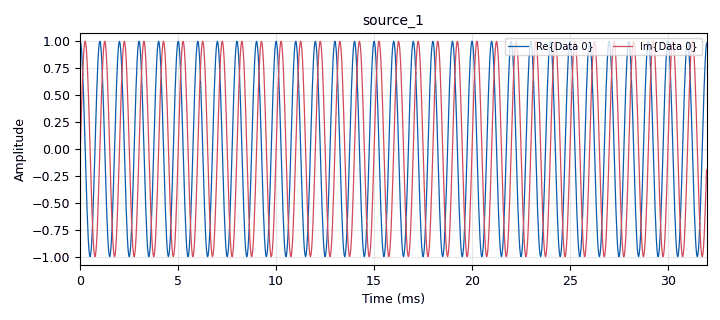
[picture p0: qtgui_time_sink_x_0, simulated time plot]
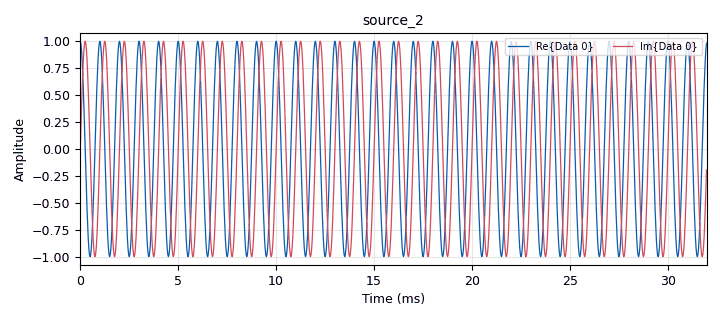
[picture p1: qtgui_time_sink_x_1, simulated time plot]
options:
  parameters:
    generate_options: qt_gui
    id: mixing
    output_language: python
    title: Not titled yet
  states: {}

blocks:
- name: freq1
  id: variable_qtgui_range
  parameters:
    orient: Qt.Horizontal
    start: '-10000'
    step: '100'
    stop: '10000'
    value: '1000'
  states: {}
- name: freq2
  id: variable_qtgui_range
  parameters:
    orient: Qt.Horizontal
    start: '-10000'
    step: '100'
    stop: '10000'
    value: '1000'
  states: {}
- name: samp_rate
  id: variable
  parameters:
    value: '32000'
  states: {}
- name: analog_sig_source_x_0
  id: analog_sig_source_x
  parameters:
    amp: '1'
    freq: freq1
    offset: '0'
    phase: '0'
    samp_rate: samp_rate
    type: complex
    waveform: analog.GR_COS_WAVE
  states: {}
- name: analog_sig_source_x_0_0
  id: analog_sig_source_x
  parameters:
    amp: '1'
    freq: freq2
    offset: '0'
    phase: '0'
    samp_rate: samp_rate
    type: complex
    waveform: analog.GR_COS_WAVE
  states: {}
- name: blocks_throttle_0
  id: blocks_throttle
  parameters:
    samples_per_second: samp_rate
    type: complex
  states: {}
- name: qtgui_freq_sink_x_0
  id: qtgui_freq_sink_x
  parameters:
    bw: samp_rate
    fc: '0'
    fftsize: '1024'
    type: complex
    wintype: firdes.WIN_BLACKMAN_hARRIS
  states: {}
- name: qtgui_time_sink_x_0
  id: qtgui_time_sink_x
  parameters:
    name: source_1
    size: '1024'
    srate: samp_rate
    type: complex
  states: {}
- name: qtgui_time_sink_x_1
  id: qtgui_time_sink_x
  parameters:
    name: source_2
    size: '1024'
    srate: samp_rate
    type: complex
  states: {}
- name: qtgui_time_sink_x_1_0
  id: qtgui_time_sink_x
  parameters:
    name: mixed
    size: '1024'
    srate: samp_rate
    type: complex
  states: {}
- name: steves_utils_mixer_0
  id: steves_utils_mixer
  parameters: {}
  states: {}

connections:
- [analog_sig_source_x_0, '0', qtgui_time_sink_x_0, '0']
- [analog_sig_source_x_0, '0', steves_utils_mixer_0, '0']
- [analog_sig_source_x_0_0, '0', qtgui_time_sink_x_1, '0']
- [analog_sig_source_x_0_0, '0', steves_utils_mixer_0, '1']
- [blocks_throttle_0, '0', qtgui_freq_sink_x_0, '0']
- [blocks_throttle_0, '0', qtgui_time_sink_x_1_0, '0']
- [steves_utils_mixer_0, '0', blocks_throttle_0, '0']

metadata:
  file_format: 1
